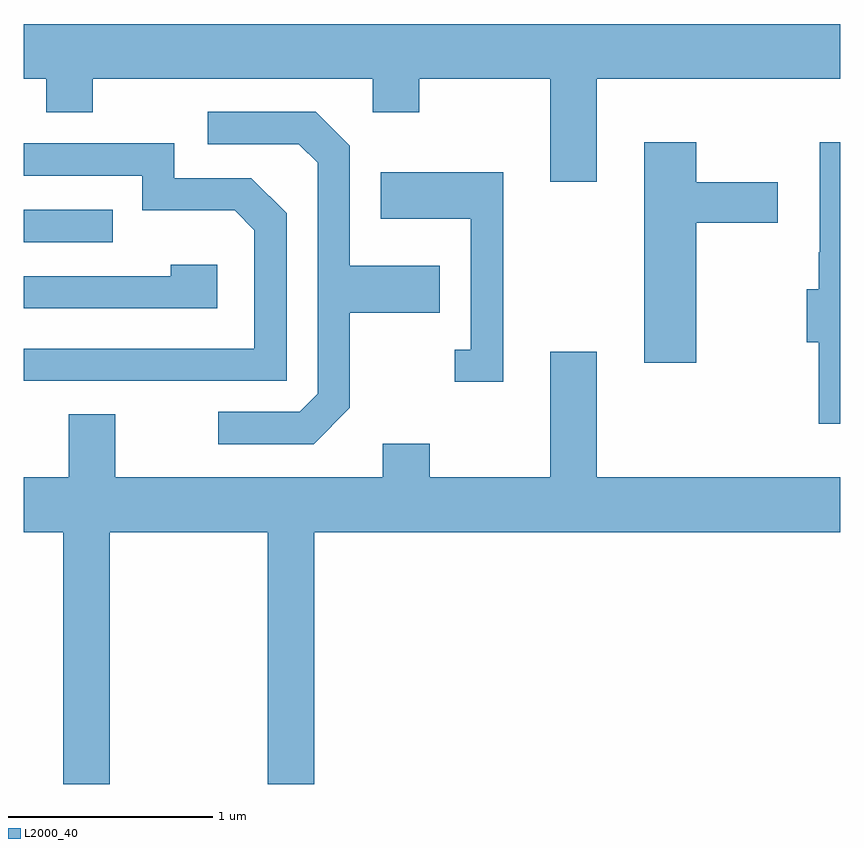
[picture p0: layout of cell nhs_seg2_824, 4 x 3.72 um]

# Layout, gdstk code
import gdstk
lib = gdstk.Library(unit=1e-6, precision=1e-09)
def R(c, l, rs):  # rectangles x0, y0, x1, y1
    for r in rs: c.add(gdstk.rectangle(r[:2], r[2:], *l))
def P(c, l, *ps):  # polygons
    for p in ps: c.add(gdstk.Polygon(p, *l))
L2000_40 = (2000, 40)

nhs_seg2_824 = lib.new_cell('nhs_seg2_824')
R(nhs_seg2_824, L2000_40, [(209.611,996.456,210.048,996.614)])
P(nhs_seg2_824, L2000_40, [(212.419,997.256),(213.611,997.256),(213.611,997.524),(209.611,997.524),(209.611,997.256),(209.721,997.256),(209.721,997.091),(209.949,997.091),(209.949,997.256),(211.321,997.256),(211.321,997.091),(211.549,997.091),(211.549,997.256),(212.191,997.256),(212.191,996.751),(212.419,996.751)],
  [(211.209,995.644),(211.209,996.111),(211.649,996.111),(211.649,996.339),(211.209,996.339),(211.209,996.927),(211.042,997.094),(210.513,997.094),(210.513,996.936),(210.959,996.936),(211.051,996.844),(211.051,995.712),(210.964,995.624),(210.563,995.624),(210.563,995.466),(211.032,995.466)],
  [(213.611,996.944),(213.511,996.944),(213.511,996.405),(213.506,996.405),(213.506,996.224),(213.446,996.224),(213.446,995.966),(213.506,995.966),(213.506,995.566),(213.611,995.566)],
  [(212.904,996.551),(213.304,996.551),(213.304,996.749),(212.904,996.749),(212.904,996.944),(212.651,996.944),(212.651,995.866),(212.904,995.866)],
  [(210.899,996.597),(210.727,996.769),(210.349,996.769),(210.349,996.939),(209.611,996.939),(209.611,996.781),(210.191,996.781),(210.191,996.611),(210.644,996.611),(210.741,996.514),(210.741,995.934),(209.611,995.934),(209.611,995.776),(210.899,995.776)],
  [(211.959,996.799),(211.361,996.799),(211.361,996.571),(211.801,996.571),(211.801,995.929),(211.723,995.929),(211.723,995.771),(211.959,995.771)],
  [(210.559,996.344),(210.331,996.344),(210.331,996.289),(209.611,996.289),(209.611,996.131),(210.559,996.131)],
  [(210.034,995.036),(210.806,995.036),(210.806,993.802),(211.034,993.802),(211.034,995.036),(213.611,995.036),(213.611,995.304),(212.419,995.304),(212.419,995.919),(212.191,995.919),(212.191,995.304),(211.599,995.304),(211.599,995.469),(211.371,995.469),(211.371,995.304),(210.059,995.304),(210.059,995.614),(209.831,995.614),(209.831,995.304),(209.611,995.304),(209.611,995.036),(209.806,995.036),(209.806,993.802),(210.034,993.802)])

lib.write_gds('nhs_seg2_824.gds')
